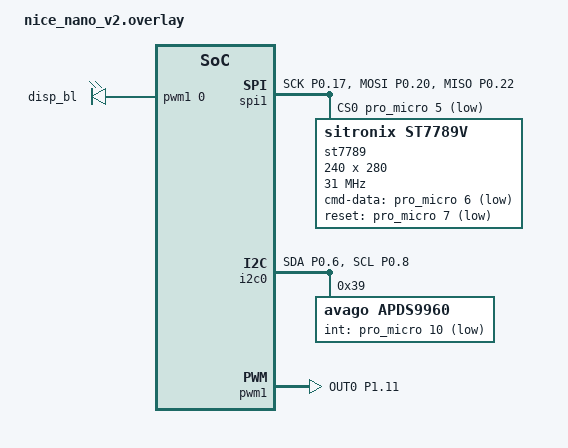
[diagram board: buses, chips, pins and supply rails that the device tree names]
/ {
   pwmleds {
      compatible = "pwm-leds";
      disp_bl: pwm_led_1 {
          pwms = <&pwm1 0 PWM_MSEC(1) PWM_POLARITY_NORMAL>;
      };
  };
};

&pro_micro_serial {
   status = "disabled";
};


&pinctrl {
    i2c0_default: i2c0_default {
        group1 {
            psels = <NRF_PSEL(TWIM_SDA, 0, 6)>,
                <NRF_PSEL(TWIM_SCL, 0, 8)>;
        };
    };

    i2c0_sleep: i2c0_sleep {
        group1 {
            psels = <NRF_PSEL(TWIM_SDA, 0, 6)>,
                <NRF_PSEL(TWIM_SCL, 0, 8)>;
            low-power-enable;
        };
    };

   spi1_default: spi1_default {
		group1 {
			psels = <NRF_PSEL(SPIM_SCK, 0, 17)>,
				<NRF_PSEL(SPIM_MOSI, 0, 20)>,
				<NRF_PSEL(SPIM_MISO, 0, 22)>;
		};
	};

	spi1_sleep: spi1_sleep {
		group1 {
			psels = <NRF_PSEL(SPIM_SCK, 0, 17)>,
				<NRF_PSEL(SPIM_MOSI, 0, 20)>,
				<NRF_PSEL(SPIM_MISO, 0, 22)>;
			low-power-enable;
		};
	};

   pwm1_default: pwm1_default {
      group1 {
         psels = <NRF_PSEL(PWM_OUT0, 1, 11)>;
         nordic,invert;
      };
   };

   pwm1_sleep: pwm1_sleep {
      group1 {
         psels = <NRF_PSEL(PWM_OUT0, 1, 11)>;
         low-power-enable;
      };
   };
};

disp_spi: &spi1 {
    status = "okay";
    pinctrl-0 = <&spi1_default>;
    pinctrl-1 = <&spi1_sleep>;
    pinctrl-names = "default", "sleep";
    cs-gpios = <&pro_micro 5 GPIO_ACTIVE_LOW>;

    st7789: st7789v@0 {
       compatible = "sitronix,st7789v";
       spi-max-frequency = <31000000>;
       reg = <0>;
       cmd-data-gpios = <&pro_micro 6 GPIO_ACTIVE_LOW>;
       reset-gpios = <&pro_micro 7 GPIO_ACTIVE_LOW>;
       width = <240>;
       height = <280>;
       x-offset = <0>;
       y-offset = <20>;
       vcom = <0x19>;
       gctrl = <0x35>;
       vrhs = <0x12>;
       vdvs = <0x20>;
       mdac = <0x00>;
       gamma = <0x01>;
       colmod = <0x05>;
       lcm = <0x2c>;
       porch-param = [ 0c 0c 00 33 33  ];
       cmd2en-param = [ 5a 69 02 01  ];
       pwctrl1-param = [ a4 a1  ];
       pvgam-param = [ D0 04 0D 11 13 2B 3F 54 4C 18 0D 0B 1F 23  ];
       nvgam-param = [ D0 04 0C 11 13 2C 3F 44 51 2F 1F 1F 20 23  ];
       ram-param = [ 00 F0  ];
       rgb-param = [ CD 08 14  ];
   };
};

&i2c0 {
   status = "okay";
    pinctrl-0 = <&i2c0_default>;
    pinctrl-1 = <&i2c0_sleep>;
    pinctrl-names = "default", "sleep";

   apds9960: apds9960@39 {
       compatible = "avago,apds9960";
       status = "okay";
       reg = <0x39>;
       int-gpios = <&pro_micro 10 (GPIO_ACTIVE_LOW | GPIO_PULL_UP)>;
   };
};

&pwm1 {
  status = "okay";
  pinctrl-0 = <&pwm1_default>;
  pinctrl-1 = <&pwm1_sleep>;
  pinctrl-names = "default", "sleep";
};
